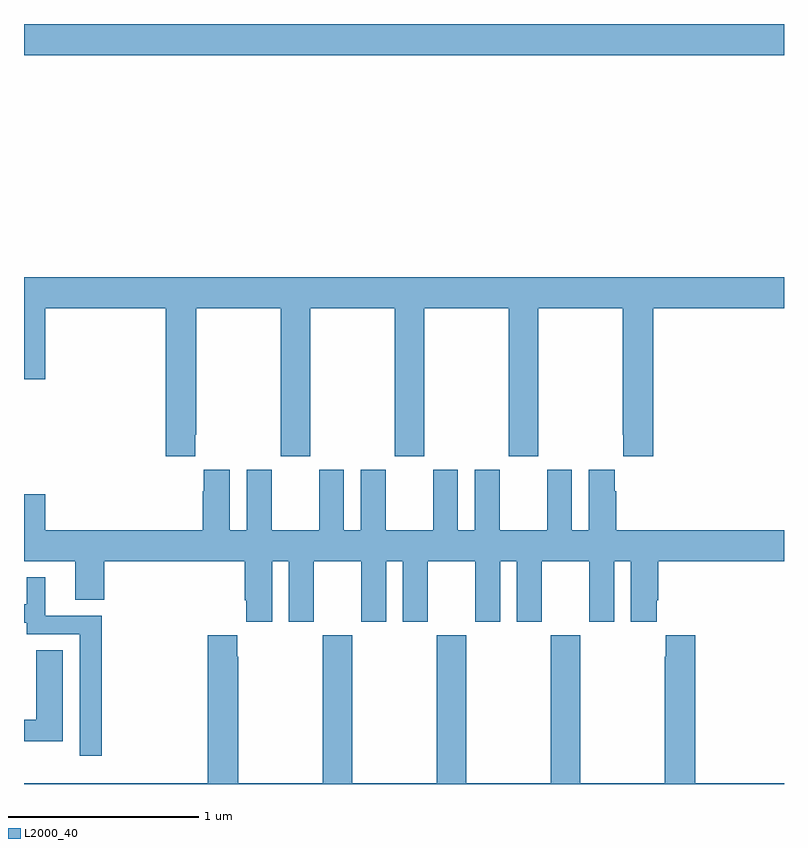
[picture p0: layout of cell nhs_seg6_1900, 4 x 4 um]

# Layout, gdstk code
import gdstk
lib = gdstk.Library(unit=1e-6, precision=1e-09)
def R(c, l, rs):  # rectangles x0, y0, x1, y1
    for r in rs: c.add(gdstk.rectangle(r[:2], r[2:], *l))
def P(c, l, *ps):  # polygons
    for p in ps: c.add(gdstk.Polygon(p, *l))
L2000_40 = (2000, 40)

nhs_seg6_1900 = lib.new_cell('nhs_seg6_1900')
R(nhs_seg6_1900, L2000_40, [(225,947.336,229,947.5)])
P(nhs_seg6_1900, L2000_40, [(225.901,945.337),(225.906,945.337),(225.906,946.004),(226.351,946.004),(226.351,945.225),(226.506,945.225),(226.506,946.004),(226.951,946.004),(226.951,945.225),(227.106,945.225),(227.106,946.004),(227.551,946.004),(227.551,945.225),(227.706,945.225),(227.706,946.004),(228.151,946.004),(228.151,945.337),(228.155,945.337),(228.155,945.225),(228.311,945.225),(228.311,946.004),(229,946.004),(229,946.168),(225,946.168),(225,945.63),(225.112,945.63),(225.112,946.004),(225.746,946.004),(225.746,945.225),(225.901,945.225)],
  [(228.116,945.041),(228.109,945.041),(228.109,945.154),(227.972,945.154),(227.972,944.836),(227.884,944.836),(227.884,945.154),(227.753,945.154),(227.753,944.836),(227.503,944.836),(227.503,945.154),(227.372,945.154),(227.372,944.836),(227.284,944.836),(227.284,945.154),(227.153,945.154),(227.153,944.836),(226.903,944.836),(226.903,945.154),(226.772,945.154),(226.772,944.836),(226.684,944.836),(226.684,945.154),(226.553,945.154),(226.553,944.836),(226.303,944.836),(226.303,945.154),(226.172,945.154),(226.172,944.836),(226.084,944.836),(226.084,945.154),(225.947,945.154),(225.947,945.041),(225.941,945.041),(225.941,944.836),(225.112,944.836),(225.112,945.025),(225,945.025),(225,944.672),(225.269,944.672),(225.269,944.47),(225.422,944.47),(225.422,944.672),(226.163,944.672),(226.163,944.467),(226.169,944.467),(226.169,944.355),(226.306,944.355),(226.306,944.672),(226.394,944.672),(226.394,944.355),(226.525,944.355),(226.525,944.672),(226.775,944.672),(226.775,944.355),(226.906,944.355),(226.906,944.672),(226.994,944.672),(226.994,944.355),(227.125,944.355),(227.125,944.672),(227.375,944.672),(227.375,944.355),(227.506,944.355),(227.506,944.672),(227.594,944.672),(227.594,944.355),(227.725,944.355),(227.725,944.672),(227.975,944.672),(227.975,944.355),(228.106,944.355),(228.106,944.672),(228.194,944.672),(228.194,944.355),(228.331,944.355),(228.331,944.467),(228.338,944.467),(228.338,944.672),(229,944.672),(229,944.836),(228.116,944.836)],
  [(225.41,944.385),(225.112,944.385),(225.112,944.587),(225.014,944.587),(225.014,944.445),(225,944.445),(225,944.349),(225.015,944.349),(225.015,944.289),(225.294,944.289),(225.294,943.65),(225.41,943.65)],
  [(229,943.504),(228.533,943.504),(228.533,944.284),(228.377,944.284),(228.377,944.171),(228.373,944.171),(228.373,943.504),(227.928,943.504),(227.928,944.284),(227.773,944.284),(227.773,943.504),(227.328,943.504),(227.328,944.284),(227.173,944.284),(227.173,943.504),(226.728,943.504),(226.728,944.284),(226.573,944.284),(226.573,943.504),(226.128,943.504),(226.128,944.171),(226.123,944.171),(226.123,944.284),(225.968,944.284),(225.968,943.504),(225,943.504),(225,943.5),(229,943.5)],
  [(225.205,944.203),(225.065,944.203),(225.065,943.837),(225,943.837),(225,943.726),(225.205,943.726)])

lib.write_gds('nhs_seg6_1900.gds')
